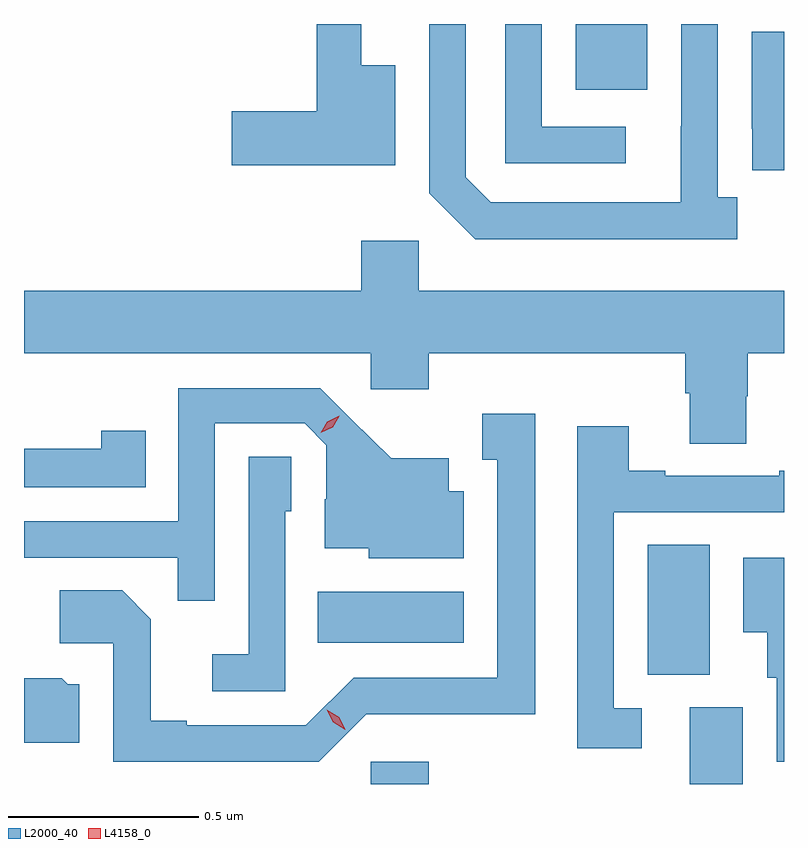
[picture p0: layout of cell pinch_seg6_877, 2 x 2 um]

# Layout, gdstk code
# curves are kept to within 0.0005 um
import gdstk
lib = gdstk.Library(unit=1e-6, precision=1e-09)
def R(c, l, rs):  # rectangles x0, y0, x1, y1
    for r in rs: c.add(gdstk.rectangle(r[:2], r[2:], *l))
def P(c, l, *ps):  # polygons
    for p in ps: c.add(gdstk.Polygon(p, *l))
L2000_40 = (2000, 40)
L4158_0 = (4158, 0)

pinch_seg6_877 = lib.new_cell('pinch_seg6_877')
R(pinch_seg6_877, L2000_40, [(147.942,976.838,148.094,976.897), (148.781,976.838,148.921,977.04), (148.67,977.125,148.834,977.468), (147.802,977.21,148.186,977.344), (148.481,978.665,148.669,978.838)])
P(pinch_seg6_877, L2000_40, [(148.006,978.73),(147.917,978.73),(147.917,978.838),(147.799,978.838),(147.799,978.608),(147.576,978.608),(147.576,978.466),(148.006,978.466)],
  [(148.612,978.567),(148.392,978.567),(148.392,978.838),(148.296,978.838),(148.296,978.471),(148.612,978.471)],
  [(148.906,978.382),(148.854,978.382),(148.854,978.838),(148.758,978.838),(148.758,978.569),(148.757,978.569),(148.757,978.369),(148.257,978.369),(148.191,978.435),(148.191,978.838),(148.095,978.838),(148.095,978.393),(148.216,978.272),(148.906,978.272)],
  [(149.029,978.817),(148.944,978.817),(148.944,978.562),(148.945,978.562),(148.945,978.453),(149.029,978.453)],
  [(148.929,977.859),(148.934,977.859),(148.934,977.972),(149.029,977.972),(149.029,978.136),(148.068,978.136),(148.068,978.268),(147.917,978.268),(147.917,978.136),(147.029,978.136),(147.029,977.972),(147.942,977.972),(147.942,977.877),(148.094,977.877),(148.094,977.972),(148.769,977.972),(148.769,977.866),(148.781,977.866),(148.781,977.734),(148.929,977.734)],
  [(147.531,977.787),(147.768,977.787),(147.825,977.73),(147.825,977.588),(147.821,977.588),(147.821,977.459),(147.936,977.459),(147.936,977.432),(148.186,977.432),(148.186,977.608),(148.147,977.608),(148.147,977.695),(147.995,977.695),(147.808,977.88),(147.435,977.88),(147.435,977.529),(147.029,977.529),(147.029,977.433),(147.433,977.433),(147.433,977.32),(147.531,977.32)],
  [(147.93,977.022),(148.152,977.022),(148.152,977.021),(148.375,977.021),(148.375,977.812),(148.235,977.812),(148.235,977.691),(148.274,977.691),(148.274,977.118),(147.897,977.118),(147.771,976.992),(147.457,976.992),(147.457,977.005),(147.363,977.005),(147.363,977.272),(147.287,977.348),(147.123,977.348),(147.123,977.208),(147.264,977.208),(147.264,976.896),(147.804,976.896)],
  [(148.654,977.037),(148.581,977.037),(148.581,977.553),(149.029,977.553),(149.029,977.662),(149.017,977.662),(149.017,977.649),(148.717,977.649),(148.717,977.662),(148.621,977.662),(148.621,977.779),(148.485,977.779),(148.485,976.932),(148.654,976.932)],
  [(147.35,977.767),(147.232,977.767),(147.232,977.72),(147.029,977.72),(147.029,977.619),(147.35,977.619)],
  [(147.717,977.556),(147.732,977.556),(147.732,977.699),(147.621,977.699),(147.621,977.179),(147.525,977.179),(147.525,977.082),(147.717,977.082)],
  [(149.029,977.434),(148.922,977.434),(148.922,977.237),(148.985,977.237),(148.985,977.118),(149.01,977.118),(149.01,976.896),(149.029,976.896)],
  [(147.175,977.1),(147.144,977.1),(147.128,977.116),(147.029,977.116),(147.029,976.946),(147.175,976.946)])
P(pinch_seg6_877, L4158_0, [(147.874,976.981),(147.843,977),(147.826,977.033),(147.826,977.034),(147.826,977.034),(147.858,977.014),(147.874,976.981),(147.874,976.981)],
  [(147.81,977.762),(147.81,977.762),(147.827,977.791),(147.858,977.807),(147.858,977.807),(147.858,977.806),(147.841,977.777),(147.81,977.762)])

lib.write_gds('pinch_seg6_877.gds')
